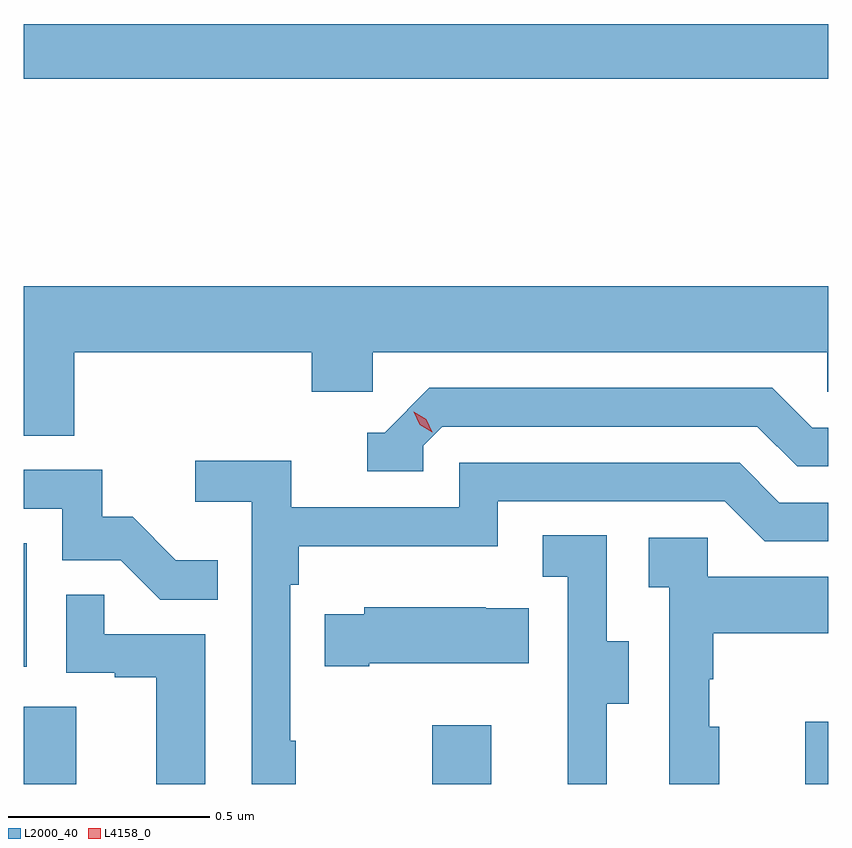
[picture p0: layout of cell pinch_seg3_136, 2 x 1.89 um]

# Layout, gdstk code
import gdstk
lib = gdstk.Library(unit=1e-6, precision=1e-09)
def R(c, l, rs):  # rectangles x0, y0, x1, y1
    for r in rs: c.add(gdstk.rectangle(r[:2], r[2:], *l))
def P(c, l, *ps):  # polygons
    for p in ps: c.add(gdstk.Polygon(p, *l))
L2000_40 = (2000, 40)
L4158_0 = (4158, 0)

pinch_seg3_136 = lib.new_cell('pinch_seg3_136')
R(pinch_seg3_136, L2000_40, [(1119.633,713.162,1119.763,713.354), (1120.648,713.162,1120.795,713.308), (1121.576,713.162,1121.633,713.317), (1119.633,713.454,1119.64,713.761), (1119.633,714.916,1121.633,715.052)])
P(pinch_seg3_136, L2000_40, [(1119.758,714.236),(1120.349,714.236),(1120.349,714.138),(1120.5,714.138),(1120.5,714.236),(1121.631,714.236),(1121.631,714.138),(1121.633,714.138),(1121.633,714.4),(1119.633,714.4),(1119.633,714.028),(1119.758,714.028)],
  [(1120.626,714.003),(1120.674,714.051),(1121.457,714.051),(1121.556,713.952),(1121.633,713.952),(1121.633,714.048),(1121.593,714.048),(1121.494,714.147),(1120.641,714.147),(1120.53,714.036),(1120.487,714.036),(1120.487,713.94),(1120.626,713.94)],
  [(1120.309,713.269),(1120.296,713.269),(1120.296,713.657),(1120.316,713.657),(1120.316,713.753),(1120.812,713.753),(1120.812,713.865),(1121.376,713.865),(1121.475,713.766),(1121.633,713.766),(1121.633,713.862),(1121.512,713.862),(1121.413,713.961),(1120.716,713.961),(1120.716,713.85),(1120.298,713.85),(1120.298,713.966),(1120.059,713.966),(1120.059,713.864),(1120.2,713.864),(1120.2,713.162),(1120.309,713.162)],
  [(1120.115,713.719),(1120.011,713.719),(1119.904,713.826),(1119.828,713.826),(1119.828,713.943),(1119.633,713.943),(1119.633,713.847),(1119.729,713.847),(1119.729,713.718),(1119.874,713.718),(1119.972,713.62),(1120.115,713.62)],
  [(1121.083,713.362),(1121.137,713.362),(1121.137,713.517),(1121.082,713.517),(1121.082,713.78),(1120.923,713.78),(1120.923,713.677),(1120.986,713.677),(1120.986,713.373),(1120.985,713.373),(1120.985,713.162),(1121.083,713.162)],
  [(1121.362,713.304),(1121.337,713.304),(1121.337,713.423),(1121.347,713.423),(1121.347,713.537),(1121.633,713.537),(1121.633,713.677),(1121.334,713.677),(1121.334,713.775),(1121.187,713.775),(1121.187,713.651),(1121.238,713.651),(1121.238,713.162),(1121.362,713.162)],
  [(1120.084,713.535),(1119.833,713.535),(1119.833,713.633),(1119.738,713.633),(1119.738,713.439),(1119.859,713.439),(1119.859,713.427),(1119.962,713.427),(1119.962,713.162),(1120.084,713.162)],
  [(1120.492,713.462),(1120.889,713.462),(1120.889,713.599),(1120.781,713.599),(1120.781,713.602),(1120.479,713.602),(1120.479,713.584),(1120.381,713.584),(1120.381,713.455),(1120.492,713.455)])
P(pinch_seg3_136, L4158_0, [(1120.649,714.037),(1120.618,714.056),(1120.602,714.088),(1120.602,714.088),(1120.603,714.088),(1120.633,714.069),(1120.649,714.037),(1120.649,714.037)])

lib.write_gds('pinch_seg3_136.gds')
